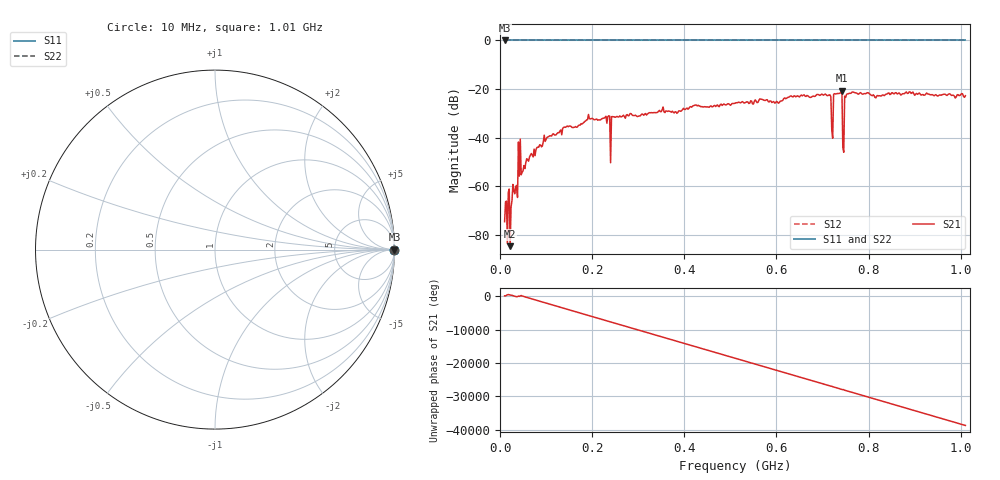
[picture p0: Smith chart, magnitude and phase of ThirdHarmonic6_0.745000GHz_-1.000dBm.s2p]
! 8/16/2025 12:56:03 AM
! C:\ANRITSUVNA\TEMP\TEMP.S2P
! CHANNEL.1
! TR.MEASUREMENT
! RAW.DATA
! RF.CORRECTION.OFF
! AVERAGING.OFF
! IF.BANDWIDTH: 5KHZ
! SWEEPTYPE:  FREQ.SWEEP(Linear)
! Reference Plane Port Info
! PORT:  PORT1  PORT2
! DISTANCE:  0  m  0  m
! TIME:  0  s  0  s
! PHASE.OFFSET:  0  deg.  0  deg.
! LOSS:  0  dB  0  dB
! REF.LOSS:  0  dB  0  dB
! REF.FREQ:  0  Hz  0  Hz
! Power Info
! POWER:  -20  dBm  -20  dBm
! EFF.POWER:  -20  dBm  -20  dBm
! SOURCE.ATTEN:  0  dB  0  dB
! TEST.ATTEN:  0  dB  0  dB
# GHZ S RI R 50.0
! FREQ.GHZ  S11RE  S11IM  S21RE  S21IM  S12RE  S12IM  S22RE  S22IM
!; PortSelection: Port_12
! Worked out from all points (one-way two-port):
!   501 points, 10 MHz to 1.01 GHz, reference 50 ohm
!   highest |S21| = -20.65 dB at 742 MHz (marker M1); lowest = -84.7 dB at 22 MHz (marker M2)
!   lowest |S11| = 0.0 dB at 10 MHz (marker M3)
!   |S11| at or under -10 dB: nowhere
!   |S22| runs from 0.0 to 0.0 dB; largest |S21 - S12| = 1.1
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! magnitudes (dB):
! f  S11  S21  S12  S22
! 10 MHz  0.0  -74.6  0.0  0.0
! 22 MHz  0.0  -84.7  0.0  0.0
! 34 MHz  0.0  -60.3  0.0  0.0
! 44 MHz  0.0  -40.6  0.0  0.0
! 50 MHz  0.0  -53.6  0.0  0.0
! 100 MHz  0.0  -40.8  0.0  0.0
! 178 MHz  0.0  -34.4  0.0  0.0
! 236 MHz  0.0  -31.0  0.0  0.0
! 344 MHz  0.0  -29.1  0.0  0.0
! 510 MHz  0.0  -25.8  0.0  0.0
! 678 MHz  0.0  -23.0  0.0  0.0
! 714 MHz  0.0  -22.4  0.0  0.0
! 720 MHz  0.0  -36.8  0.0  0.0
! 724 MHz  0.0  -22.2  0.0  0.0
! 728 MHz  0.0  -22.0  0.0  0.0
! 738 MHz  0.0  -21.7  0.0  0.0
! 742 MHz  0.0  -20.6  0.0  0.0
! 748 MHz  0.0  -22.9  0.0  0.0
! 752 MHz  0.0  -22.2  0.0  0.0
! 756 MHz  0.0  -22.0  0.0  0.0
! 844 MHz  0.0  -21.6  0.0  0.0
! 1.01 GHz  0.0  -22.8  0.0  0.0
